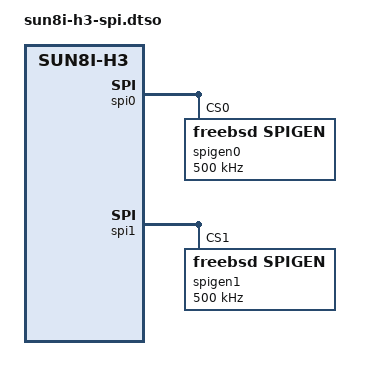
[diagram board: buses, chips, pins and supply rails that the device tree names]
/dts-v1/;
/plugin/;

/ {
	compatible = "allwinner,sun8i-h3";
};

&spi0 {
	status = "okay";
	spigen0: spigen0 {
		compatible = "freebsd,spigen";
		reg = <0>;
		spi-max-frequency = <500000>; /* Req'd property, override with spi(8) */
		status = "okay";
	};
};

&spi1 {
	status = "okay";
	spigen1: spigen1 {
		compatible = "freebsd,spigen";
		reg = <1>;
		spi-max-frequency = <500000>; /* Req'd property, override with spi(8) */
		status = "okay";
	};
};
